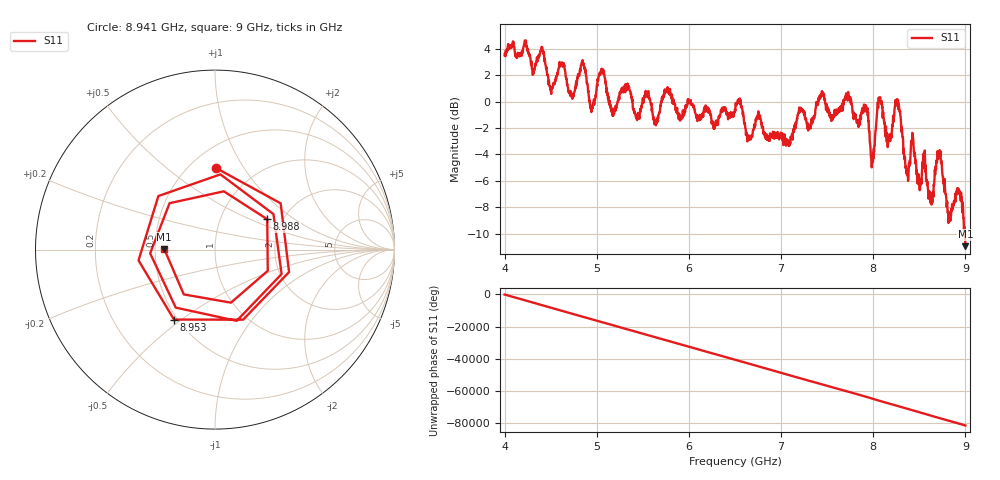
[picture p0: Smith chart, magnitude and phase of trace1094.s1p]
! Created with skrf 1.8.0 (http://scikit-rf.org).
# Hz S RI R 50.0
!freq ReS11 ImS11
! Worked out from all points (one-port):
!   1601 points, 4 GHz to 9 GHz, reference 50 ohm
!   lowest |S11| = -11.0 dB at 9 GHz (marker M1), VSWR 1.79, Z = 27.9 + j0.256 ohm
!   |S11| at or under -10 dB: 8.991233 GHz to end of sweep
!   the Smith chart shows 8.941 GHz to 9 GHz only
!   S11 on the Smith chart (normalised r, x): 8.941 GHz: 0.67, +0.76; 8.953 GHz: 0.48, -0.47; 8.988 GHz: 1.67, +0.64; 9 GHz: 0.56, +0.01
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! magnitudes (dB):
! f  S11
! 4 GHz  3.5
! 4.403 GHz  4.2
! 4.509 GHz  1.0
! 4.625 GHz  3.0
! 4.725 GHz  0.6
! 4.853 GHz  2.8
! 4.947 GHz  -0.6
! 5.05 GHz  2.5
! 5.162 GHz  -0.8
! 5.25 GHz  0.7
! 5.875 GHz  -0.8
! 6.5 GHz  -0.6
! 7.125 GHz  -2.9
! 7.75 GHz  0.3
! 7.922 GHz  -0.3
! 7.991 GHz  -4.3
! 8.069 GHz  0.2
! 8.166 GHz  -2.9
! 8.266 GHz  -0.1
! 8.375 GHz  -5.4
! 8.431 GHz  -2.7
! 8.628 GHz  -7.7
! 8.716 GHz  -3.9
! 8.822 GHz  -8.5
! 8.941 GHz  -6.9
! 8.953 GHz  -6.9
! 8.988 GHz  -9.5
! 9 GHz  -11.0
